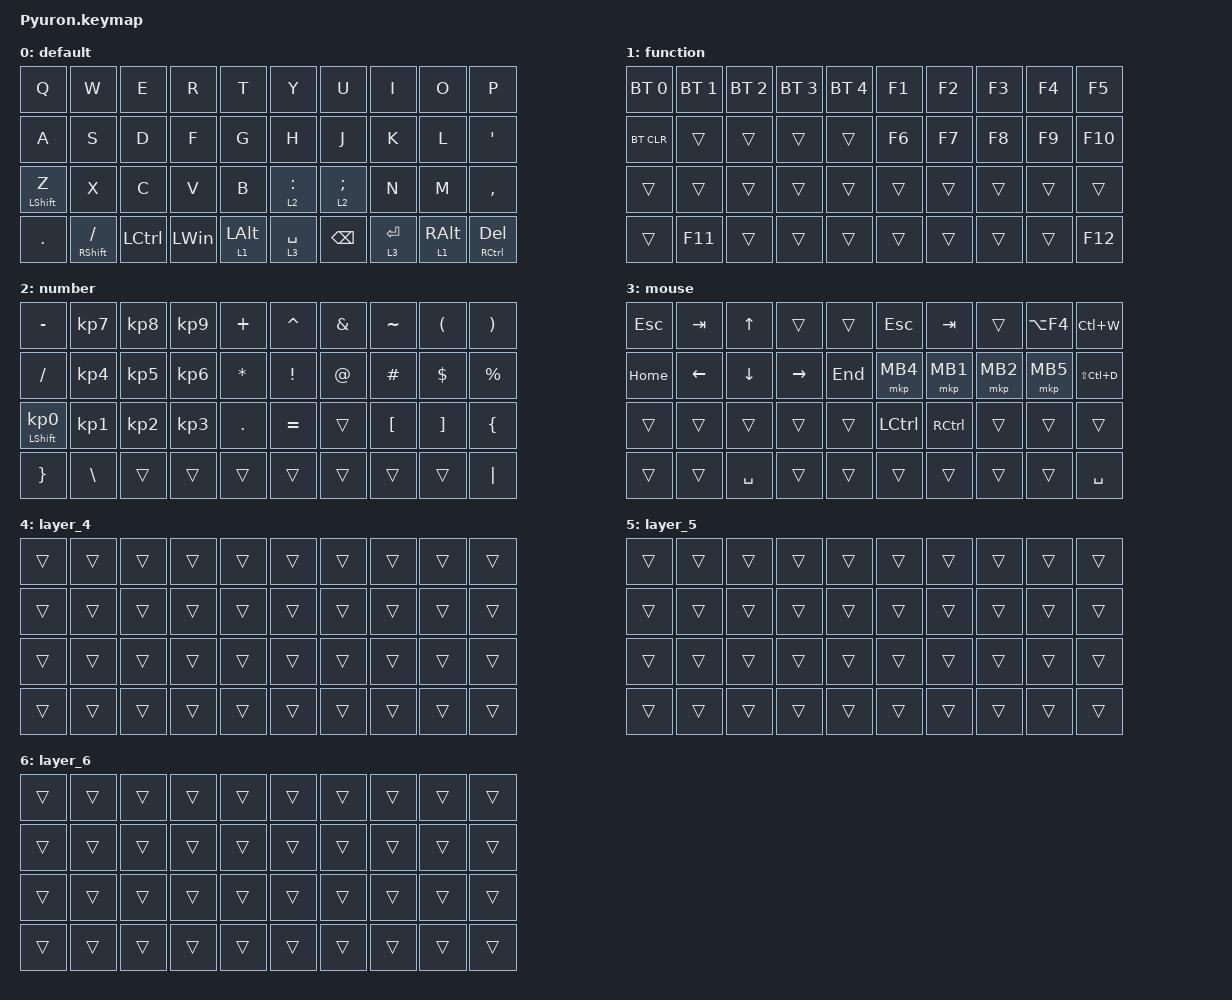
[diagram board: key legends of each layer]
#include <behaviors.dtsi>
#include <dt-bindings/zmk/bt.h>
#include <dt-bindings/zmk/keys.h>
#include <dt-bindings/zmk/pointing.h>

#define MOUSE 6

&mt {
    flavor = "balanced";
    quick-tap-ms = <0>;
};

/ {
    combos { compatible = "zmk,combos"; };

    macros {
        to_layer_0: to_layer_0 {
            compatible = "zmk,behavior-macro-one-param";
            #binding-cells = <1>;
            bindings = <&to 0 &macro_param_1to1 &kp MACRO_PLACEHOLDER>;
            label = "TO_LAYER_0";
        };
    };

    lt_to_layer_0: lt_to_layer_0 {
        compatible = "zmk,behavior-hold-tap";
        label = "LAYER_TAP_TO_0";
        bindings = <&mo>, <&to_layer_0>;

        #binding-cells = <2>;
        tapping-term-ms = <200>;
    };
};

/ {
    behaviors {
    };

    keymap {
        compatible = "zmk,keymap";

        default {
            bindings = <
&kp Q             &kp W            &kp E      &kp R         &kp T           &kp Y        &kp U                  &kp I        &kp O                       &kp P
&kp A             &kp S            &kp D      &kp F         &kp G           &kp H        &kp J                  &kp K        &kp L                       &kp SQT
&mt LEFT_SHIFT Z  &kp X            &kp C      &kp V         &kp B           &lt 2 COLON  &lt_to_layer_0 2 SEMI  &kp N        &kp M                       &kp COMMA
&kp DOT           &mt RSHFT SLASH  &kp LCTRL  &kp LEFT_WIN  &lt 1 LEFT_ALT  &lt 3 SPACE  &kp BACKSPACE          &lt 3 ENTER  &lt_to_layer_0 1 RIGHT_ALT  &mt RIGHT_CONTROL DELETE
            >;
        };

        function {
            bindings = <
&bt BT_SEL 0  &bt BT_SEL 1  &bt BT_SEL 2  &bt BT_SEL 3  &bt BT_SEL 4  &kp F1  &kp F2  &kp F3  &kp F4  &kp F5
&bt BT_CLR    &trans        &trans        &trans        &trans        &kp F6  &kp F7  &kp F8  &kp F9  &kp F10
&trans        &trans        &trans        &trans        &trans        &trans  &trans  &trans  &trans  &trans
&trans        &kp F11       &trans        &trans        &trans        &trans  &trans  &trans  &trans  &kp F12
            >;
        };

        number {
            bindings = <
&kp MINUS                   &kp KP_NUMBER_7  &kp KP_NUMBER_8  &kp KP_NUMBER_9  &kp PLUS      &kp CARET        &kp AMPERSAND  &kp TILDE         &kp LEFT_PARENTHESIS  &kp RIGHT_PARENTHESIS
&kp SLASH                   &kp KP_NUMBER_4  &kp KP_NUMBER_5  &kp KP_NUMBER_6  &kp ASTERISK  &kp EXCLAMATION  &kp AT_SIGN    &kp HASH          &kp DOLLAR            &kp PERCENT
&mt LEFT_SHIFT KP_NUMBER_0  &kp KP_NUMBER_1  &kp KP_NUMBER_2  &kp KP_NUMBER_3  &kp PERIOD    &kp EQUAL        &trans         &kp LEFT_BRACKET  &kp RIGHT_BRACKET     &kp LEFT_BRACE
&kp RIGHT_BRACE             &kp BACKSLASH    &trans           &trans           &trans        &trans           &trans         &trans            &trans                &kp PIPE
            >;
        };

        mouse {
            bindings = <
&kp ESCAPE  &kp TAB   &kp UP_ARROW    &trans           &trans   &kp ESCAPE        &kp TAB            &trans    &kp LA(F4)  &kp LC(W)
&kp HOME    &kp LEFT  &kp DOWN_ARROW  &kp RIGHT_ARROW  &kp END  &mkp MB4          &mkp MB1           &mkp MB2  &mkp MB5    &kp LS(LC(D))
&trans      &trans    &trans          &trans           &trans   &kp LEFT_CONTROL  &kp RIGHT_CONTROL  &trans    &trans      &trans
&trans      &trans    &kp SPACE       &trans           &trans   &trans            &trans             &trans    &trans      &kp SPACE
            >;
        };

        layer_4 {
            bindings = <
&trans  &trans  &trans  &trans  &trans  &trans  &trans  &trans  &trans  &trans
&trans  &trans  &trans  &trans  &trans  &trans  &trans  &trans  &trans  &trans
&trans  &trans  &trans  &trans  &trans  &trans  &trans  &trans  &trans  &trans
&trans  &trans  &trans  &trans  &trans  &trans  &trans  &trans  &trans  &trans
            >;
        };

        layer_5 {
            bindings = <
&trans  &trans  &trans  &trans  &trans  &trans  &trans  &trans  &trans  &trans
&trans  &trans  &trans  &trans  &trans  &trans  &trans  &trans  &trans  &trans
&trans  &trans  &trans  &trans  &trans  &trans  &trans  &trans  &trans  &trans
&trans  &trans  &trans  &trans  &trans  &trans  &trans  &trans  &trans  &trans
            >;
        };

        layer_6 {
            bindings = <
&trans  &trans  &trans  &trans  &trans  &trans  &trans  &trans  &trans  &trans
&trans  &trans  &trans  &trans  &trans  &trans  &trans  &trans  &trans  &trans
&trans  &trans  &trans  &trans  &trans  &trans  &trans  &trans  &trans  &trans
&trans  &trans  &trans  &trans  &trans  &trans  &trans  &trans  &trans  &trans
            >;
        };
    };
};
